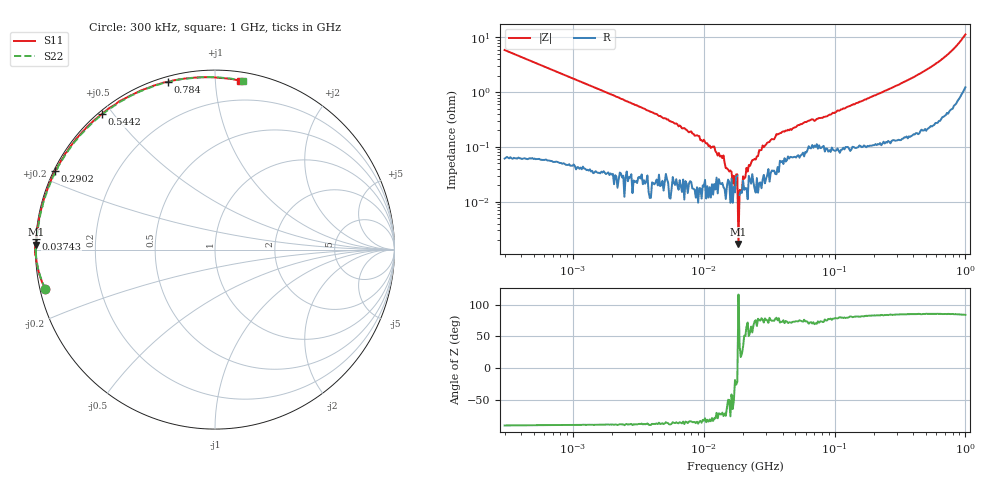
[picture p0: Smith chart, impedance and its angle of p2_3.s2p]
#  HZ  S  RI  R  50
! Rohde & Schwarz ZVA/B
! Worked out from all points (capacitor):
!   401 points, 300 kHz to 1 GHz, reference 50 ohm
!   read as one part in shunt: C = 90.1 nF near 312.4 kHz
!   lowest |Z| = 1.7 mohm at 18.41 MHz (marker M1)
!   series resonance near 18.36 MHz, so ESL is about 830 pH
!   S11 on the Smith chart (normalised r, x): 300 kHz: 0.01, -0.11; 37.43 MHz: 0.00, +0.03; 290.2 MHz: 0.00, +0.23; 544.2 MHz: 0.01, +0.47; 784 MHz: 0.02, +0.76; 1 GHz: 0.06, +1.15
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300000  -0.9466 -0.2193  0.054 -0.2222  0.0546 -0.2231  -0.9448 -0.2196
1167356  -0.9951 -0.058  0.00511 -0.0605  0.00514 -0.0606  -0.9942 -0.0584
4542403  -0.9996 -0.00823  0.00136 -0.0146  0.000864 -0.015  -0.9973 -0.00697
1.15456e7  -1 0.0126  0.000785 -0.0039  0.000821 -0.0042  -0.9979 0.0137
1.27777e7  -1.001 0.0149  0.000526 -0.00273  0.000981 -0.00363  -0.9973 0.0165
1.35792e7  -0.9987 0.017  0.000794 -0.00265  0.000899 -0.00215  -0.9977 0.0167
1.533619e7  -0.9987 0.02  0.000987 -0.00119  0.00119 -0.00138  -0.9974 0.0222
1.663207e7  -0.9967 0.024  0.000363 -0.000779  0.00112 -0.000653  -0.998 0.0242
1.732051e7  -0.9982 0.0253  0.000585 -0.000209  0.000783 -0.000196  -0.9977 0.0246
1.767534e7  -0.9965 0.0257  0.00112 -0.000569  0.00101 -0.000605  -0.9973 0.0254
1.840697e7  -0.9985 0.0272  -2.76e-05 6.2e-05  0.000733 -0.000388  -0.9971 0.0285
1.916887e7  -0.9985 0.0282  0.000619 0.000178  0.000845 0.000591  -0.9968 0.0294
1.956157e7  -0.9989 0.0286  0.000587 0.000225  0.00108 0.000533  -0.9965 0.0303
2.300707e7  -0.9978 0.0363  0.00092 0.00183  0.00106 0.00166  -0.9961 0.0368
2.651623e7  -0.9974 0.0404  0.00101 0.00334  0.000737 0.00311  -0.9967 0.0426
3.743123e7  -0.9976 0.0593  0.0018 0.00671  0.00194 0.00636  -0.9949 0.0623
6.739735e7  -0.988 0.1057  0.00558 0.0114  0.0052 0.011  -0.9869 0.1114
2.622557e8  -0.9088 0.3972  0.0219 0.0376  0.022 0.0372  -0.8982 0.4125
2.902425e8  -0.8913 0.4372  0.0259 0.0408  0.0258 0.0403  -0.8764 0.4543
5.44232e8  -0.631 0.7556  0.0759 0.0524  0.0756 0.0528  -0.607 0.7695
7.839956e8  -0.2611 0.9347  0.1352 0.0256  0.1354 0.0254  -0.2325 0.9397
1e9  0.137 0.9418  0.1767 -0.0407  0.1767 -0.0407  0.1571 0.941
